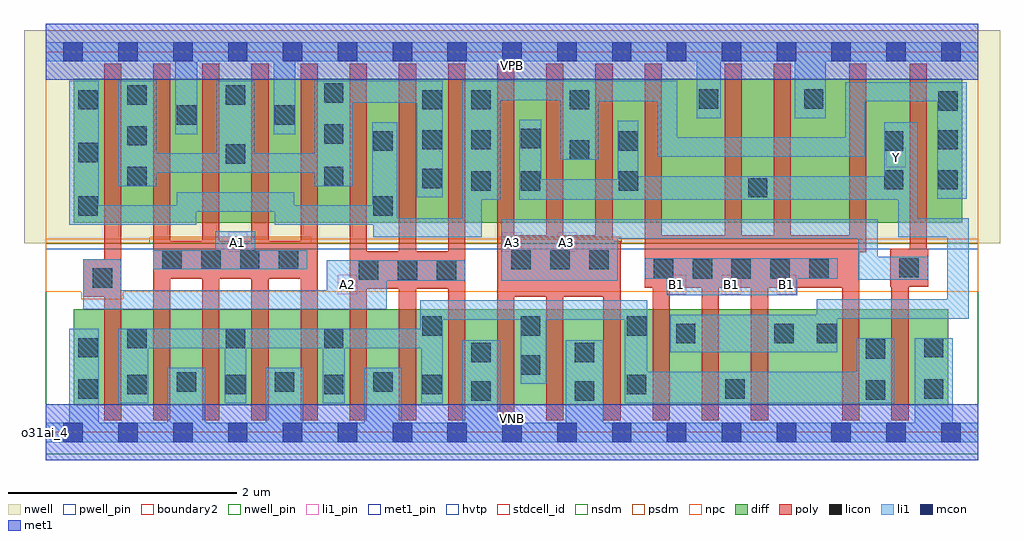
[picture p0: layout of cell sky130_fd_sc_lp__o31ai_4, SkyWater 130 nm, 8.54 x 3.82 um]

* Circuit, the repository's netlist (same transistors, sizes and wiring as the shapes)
* Copyright 2020 The SkyWater PDK Authors
*
* Licensed under the Apache License, Version 2.0 (the "License");
* you may not use this file except in compliance with the License.
* You may obtain a copy of the License at
*
*     https://www.apache.org/licenses/LICENSE-2.0
*
* Unless required by applicable law or agreed to in writing, software
* distributed under the License is distributed on an "AS IS" BASIS,
* WITHOUT WARRANTIES OR CONDITIONS OF ANY KIND, either express or implied.
* See the License for the specific language governing permissions and
* limitations under the License.
*
* SPDX-License-Identifier: Apache-2.0

.SUBCKT sky130_fd_sc_lp__o31ai_4 A1 A2 A3 B1 VGND VNB VPB VPWR Y
*.PININFO A1:I A2:I A3:I B1:I VGND:I VNB:I VPB:I VPWR:I Y:O
MMPA0 VPWR A1 sndA1 VPB sky130_fd_pr__pfet_01v8_hvt m=4 w=1.26U l=0.15U mult=1
+ sa=0.265 sb=0.265 sd=0.28 area=0.063 perim=1.14
MMPA1 sndA1 A2 sndA2 VPB sky130_fd_pr__pfet_01v8_hvt m=4 w=1.26U l=0.15U mult=1
+ sa=0.265 sb=0.265 sd=0.28 area=0.063 perim=1.14
MMPA2 sndA2 A3 Y VPB sky130_fd_pr__pfet_01v8_hvt m=4 w=1.26U l=0.15U mult=1 sa=0.265
+ sb=0.265 sd=0.28 area=0.063 perim=1.14
MMPB0 VPWR B1 Y VPB sky130_fd_pr__pfet_01v8_hvt m=4 w=1.26U l=0.15U mult=1 sa=0.265
+ sb=0.265 sd=0.28 area=0.063 perim=1.14
MMNA0 pndA A1 VGND VNB sky130_fd_pr__nfet_01v8 m=4 w=0.84U l=0.15U mult=1 sa=0.265
+ sb=0.265 sd=0.28 area=0.063 perim=1.14
MMNA1 pndA A2 VGND VNB sky130_fd_pr__nfet_01v8 m=4 w=0.84U l=0.15U mult=1 sa=0.265
+ sb=0.265 sd=0.28 area=0.063 perim=1.14
MMNA2 pndA A3 VGND VNB sky130_fd_pr__nfet_01v8 m=4 w=0.84U l=0.15U mult=1 sa=0.265
+ sb=0.265 sd=0.28 area=0.063 perim=1.14
MMNB0 Y B1 pndA VNB sky130_fd_pr__nfet_01v8 m=4 w=0.84U l=0.15U mult=1 sa=0.265
+ sb=0.265 sd=0.28 area=0.063 perim=1.14
.ENDS sky130_fd_sc_lp__o31ai_4

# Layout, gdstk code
import gdstk
lib = gdstk.Library(unit=1e-6, precision=1e-09)
def R(c, l, rs):  # rectangles x0, y0, x1, y1
    for r in rs: c.add(gdstk.rectangle(r[:2], r[2:], *l))
def A(c, l, x, y, w, h, nx, ny, dx, dy):  # array of equal rectangles
    R(c, l, [(x+i*dx, y+j*dy, x+i*dx+w, y+j*dy+h) for i in range(nx) for j in range(ny)])
def P(c, l, *ps):  # polygons
    for p in ps: c.add(gdstk.Polygon(p, *l))
nwell_pin = (64, 16)
nwell = (64, 20)
diff = (65, 20)
poly = (66, 20)
licon = (66, 44)
li1_pin = (67, 16)
li1 = (67, 20)
mcon = (67, 44)
met1_pin = (68, 16)
met1 = (68, 20)
hvtp = (78, 44)
stdcell_id = (81, 4)
nsdm = (93, 44)
psdm = (94, 20)
npc = (95, 20)
pwell_pin = (122, 16)
boundary2 = (236, 0)

sky130_fd_sc_lp__o31ai_4 = lib.new_cell('sky130_fd_sc_lp__o31ai_4')
R(sky130_fd_sc_lp__o31ai_4, nwell_pin, [(0,3.085,8.16,3.33)])
R(sky130_fd_sc_lp__o31ai_4, nwell, [(-0.19,1.655,8.35,3.52)])
R(sky130_fd_sc_lp__o31ai_4, diff, [(0.245,0.235,7.895,1.075), (0.245,1.835,8.02,3.095)])
P(sky130_fd_sc_lp__o31ai_4, poly, [(0.66,3.225),(0.51,3.225),(0.51,1.515),(0.33,1.515),(0.33,1.185),(0.51,1.185),(0.51,0.105),(0.66,0.105)],
  [(2.38,3.225),(2.23,3.225),(2.23,1.675),(1.95,1.675),(1.95,3.225),(1.8,3.225),(1.8,1.675),(1.52,1.675),(1.52,3.225),(1.37,3.225),(1.37,1.675),(1.09,1.675),(1.09,3.225),(0.94,3.225),(0.94,0.105),(1.09,0.105),(1.09,1.345),(1.37,1.345),(1.37,0.105),(1.52,0.105),(1.52,1.345),(1.8,1.345),(1.8,0.105),(1.95,0.105),(1.95,1.345),(2.23,1.345),(2.23,0.105),(2.38,0.105)],
  [(3.67,3.225),(3.52,3.225),(3.52,1.585),(3.24,1.585),(3.24,3.225),(3.09,3.225),(3.09,1.585),(2.81,1.585),(2.81,3.225),(2.66,3.225),(2.66,0.105),(2.81,0.105),(2.81,1.255),(3.09,1.255),(3.09,0.105),(3.24,0.105),(3.24,1.255),(3.52,1.255),(3.52,0.105),(3.67,0.105)],
  [(5.03,1.675),(4.96,1.675),(4.96,3.225),(4.81,3.225),(4.81,1.725),(4.53,1.725),(4.53,3.225),(4.38,3.225),(4.38,1.725),(4.1,1.725),(4.1,3.225),(3.95,3.225),(3.95,0.105),(4.1,0.105),(4.1,1.185),(4.38,1.185),(4.38,0.105),(4.53,0.105),(4.53,1.185),(4.88,1.185),(4.88,0.105),(5.03,0.105)],
  [(7.18,3.225),(7.03,3.225),(7.03,1.725),(6.52,1.725),(6.52,3.225),(6.37,3.225),(6.37,1.725),(6.09,1.725),(6.09,3.225),(5.94,3.225),(5.94,1.725),(5.39,1.725),(5.39,3.225),(5.24,3.225),(5.24,1.265),(5.31,1.265),(5.31,0.105),(5.46,0.105),(5.46,1.265),(5.74,1.265),(5.74,0.105),(5.89,0.105),(5.89,1.265),(6.17,1.265),(6.17,0.105),(6.32,0.105),(6.32,1.265),(6.97,1.265),(6.97,0.105),(7.12,0.105),(7.12,1.575),(7.18,1.575)],
  [(7.72,1.605),(7.71,1.605),(7.71,3.225),(7.56,3.225),(7.56,1.605),(7.39,1.605),(7.39,1.275),(7.4,1.275),(7.4,0.105),(7.55,0.105),(7.55,1.275),(7.72,1.275)])
A(sky130_fd_sc_lp__o31ai_4, licon, 0.715, 0.335, 0.17, 0.17, 4, 1, 0.86, 0)
A(sky130_fd_sc_lp__o31ai_4, licon, 1.145, 0.355, 0.17, 0.17, 3, 1, 0.86, 0)
A(sky130_fd_sc_lp__o31ai_4, licon, 0.715, 0.735, 0.17, 0.17, 3, 1, 0.86, 0)
A(sky130_fd_sc_lp__o31ai_4, licon, 2.74, 1.335, 0.17, 0.17, 3, 1, 0.34, 0)
A(sky130_fd_sc_lp__o31ai_4, licon, 5.32, 1.345, 0.17, 0.17, 5, 1, 0.34, 0)
A(sky130_fd_sc_lp__o31ai_4, licon, 1.02, 1.425, 0.17, 0.17, 4, 1, 0.34, 0)
A(sky130_fd_sc_lp__o31ai_4, licon, 4.075, 1.425, 0.17, 0.17, 3, 1, 0.34, 0)
A(sky130_fd_sc_lp__o31ai_4, licon, 0.715, 2.155, 0.17, 0.17, 1, 3, 0, 0.355)
R(sky130_fd_sc_lp__o31ai_4, licon, [(3.725,0.275,3.895,0.445), (4.63,0.275,4.8,0.445), (7.175,0.285,7.345,0.455), (0.285,0.295,0.455,0.465), (5.945,0.295,6.115,0.465), (7.685,0.295,7.855,0.465), (5.085,0.335,5.255,0.505), (4.155,0.505,4.325,0.675), (3.725,0.615,3.895,0.785), (4.63,0.615,4.8,0.785), (7.175,0.645,7.345,0.815), (0.285,0.655,0.455,0.825), (7.685,0.655,7.855,0.825), (5.515,0.78,5.685,0.95), (6.375,0.78,6.545,0.95), (6.745,0.78,6.915,0.95), (3.295,0.845,3.465,1.015), (4.155,0.845,4.325,1.015), (5.085,0.845,5.255,1.015), (0.41,1.265,0.58,1.435), (7.47,1.355,7.64,1.525), (0.285,1.895,0.455,2.065), (2.865,1.895,3.035,2.065), (6.145,2.055,6.315,2.225), (3.725,2.115,3.895,2.285), (4.155,2.115,4.325,2.285), (5.015,2.115,5.185,2.285), (7.335,2.125,7.505,2.295), (7.81,2.125,7.98,2.295), (3.295,2.135,3.465,2.305), (2.435,2.155,2.605,2.325), (1.575,2.35,1.745,2.52), (0.285,2.365,0.455,2.535), (4.585,2.385,4.755,2.555), (2.865,2.465,3.035,2.635), (5.015,2.465,5.185,2.635), (7.335,2.465,7.505,2.635), (3.295,2.475,3.465,2.645), (3.725,2.475,3.895,2.645), (7.81,2.475,7.98,2.645), (4.155,2.485,4.325,2.655), (2.435,2.525,2.605,2.695), (1.145,2.69,1.315,2.86), (2.005,2.69,2.175,2.86), (7.81,2.815,7.98,2.985), (0.285,2.825,0.455,2.995), (3.295,2.825,3.465,2.995), (3.725,2.825,3.895,2.995), (4.585,2.825,4.755,2.995), (5.715,2.83,5.885,3), (6.635,2.83,6.805,3), (1.575,2.865,1.745,3.035), (2.435,2.885,2.605,3.055)])
A(sky130_fd_sc_lp__o31ai_4, li1_pin, 5.435, 1.21, 0.17, 0.17, 3, 1, 0.48, 0)
R(sky130_fd_sc_lp__o31ai_4, li1_pin, [(2.555,1.21,2.725,1.38), (1.595,1.58,1.765,1.75), (3.995,1.58,4.165,1.75), (4.475,1.58,4.645,1.75), (7.355,2.32,7.525,2.49)])
P(sky130_fd_sc_lp__o31ai_4, li1, [(5.695,2.75),(5.695,3.245),(2.185,3.245),(2.185,2.61),(1.995,2.61),(1.995,3.245),(1.325,3.245),(1.325,2.61),(1.135,2.61),(1.135,3.245),(0,3.245),(0,3.415),(8.16,3.415),(8.16,3.245),(6.825,3.245),(6.825,2.75),(6.555,2.75),(6.555,3.245),(5.905,3.245),(5.905,2.75)],
  [(0.205,0.085),(0.205,0.905),(0.465,0.905),(0.465,0.085),(1.065,0.085),(1.065,0.565),(1.395,0.565),(1.395,0.085),(1.925,0.085),(1.925,0.565),(2.255,0.565),(2.255,0.085),(2.785,0.085),(2.785,0.565),(3.115,0.565),(3.115,0.085),(3.645,0.085),(3.645,0.805),(3.975,0.805),(3.975,0.085),(4.55,0.085),(4.55,0.805),(4.88,0.805),(4.88,0.085),(7.605,0.085),(7.605,0.825),(7.935,0.825),(7.935,0.085),(8.16,0.085),(8.16,-0.085),(0,-0.085),(0,0.085)],
  [(5.435,1.2),(5.435,1.345),(5.24,1.345),(5.24,1.525),(6.93,1.525),(6.93,1.345),(6.575,1.345),(6.575,1.2)],
  [(0.94,1.425),(0.94,1.595),(1.485,1.595),(1.485,1.76),(1.835,1.76),(1.835,1.595),(2.29,1.595),(2.29,1.425)],
  [(0.33,1.075),(0.33,1.515),(0.66,1.515),(0.66,1.245),(2.46,1.245),(2.46,1.505),(3.67,1.505),(3.67,1.325),(2.985,1.325),(2.985,1.075)],
  [(7.28,1.865),(7.28,1.535),(7.72,1.535),(7.72,1.335),(7.11,1.335),(7.11,1.695),(5.005,1.695),(5.005,1.325),(3.985,1.325),(3.985,1.865)],
  [(7.335,2.24),(7.335,2.715),(7.63,2.715),(7.63,1.875),(8.075,1.875),(8.075,0.995),(6.925,0.995),(6.925,0.7),(5.465,0.7),(5.465,1.03),(6.745,1.03),(6.745,1.165),(7.89,1.165),(7.89,1.705),(7.46,1.705),(7.46,2.035),(4.145,2.035),(4.145,2.735),(4.335,2.735),(4.335,2.215),(5.005,2.215),(5.005,2.725),(5.185,2.725),(5.185,2.24)],
  [(7.8,2.895),(7.165,2.895),(7.165,2.41),(5.355,2.41),(5.355,2.895),(4.835,2.895),(4.835,2.385),(4.505,2.385),(4.505,2.905),(3.975,2.905),(3.975,2.035),(3.815,2.035),(3.815,1.705),(2.865,1.705),(2.865,1.815),(2.005,1.815),(2.005,1.93),(1.315,1.93),(1.315,1.815),(0.205,1.815),(0.205,3.075),(0.465,3.075),(0.465,1.985),(1.145,1.985),(1.145,2.1),(2.175,2.1),(2.175,1.985),(2.855,1.985),(2.855,2.715),(3.075,2.715),(3.075,1.875),(3.645,1.875),(3.645,3.075),(5.525,3.075),(5.525,2.58),(6.995,2.58),(6.995,3.065),(8.06,3.065),(8.06,2.045),(7.8,2.045)],
  [(3.245,2.885),(2.685,2.885),(2.685,2.155),(2.355,2.155),(2.355,2.27),(0.965,2.27),(0.965,2.155),(0.635,2.155),(0.635,3.075),(0.965,3.075),(0.965,2.44),(1.495,2.44),(1.495,3.075),(1.825,3.075),(1.825,2.44),(2.355,2.44),(2.355,3.075),(3.475,3.075),(3.475,2.055),(3.245,2.055)],
  [(5.265,0.53),(7.095,0.53),(7.095,0.825),(7.425,0.825),(7.425,0.255),(5.065,0.255),(5.065,0.985),(4.38,0.985),(4.38,0.425),(4.155,0.425),(4.155,0.985),(3.475,0.985),(3.475,0.255),(3.285,0.255),(3.285,0.735),(2.615,0.735),(2.615,0.255),(2.425,0.255),(2.425,0.735),(1.755,0.735),(1.755,0.255),(1.565,0.255),(1.565,0.735),(0.895,0.735),(0.895,0.255),(0.635,0.255),(0.635,0.905),(3.275,0.905),(3.275,1.155),(5.265,1.155)])
A(sky130_fd_sc_lp__o31ai_4, mcon, 0.155, -0.085, 0.17, 0.17, 17, 2, 0.48, 3.33)
R(sky130_fd_sc_lp__o31ai_4, met1_pin, [(0,0,8.16,0.245), (0,3.085,8.16,3.33)])
R(sky130_fd_sc_lp__o31ai_4, met1, [(0,-0.245,8.16,0.245), (0,3.085,8.16,3.575)])
R(sky130_fd_sc_lp__o31ai_4, hvtp, [(0,1.6,8.16,3.33)])
R(sky130_fd_sc_lp__o31ai_4, stdcell_id, [(0,0,8.16,3.33)])
R(sky130_fd_sc_lp__o31ai_4, nsdm, [(0,-0.19,8.16,1.655)])
P(sky130_fd_sc_lp__o31ai_4, psdm, [(8.16,3.52),(0,3.52),(0,1.655),(0.91,1.655),(0.91,1.705),(2.32,1.705),(2.32,1.655),(3.965,1.655),(3.965,1.705),(5.035,1.705),(5.035,1.655),(8.16,1.655)])
P(sky130_fd_sc_lp__o31ai_4, npc, [(8.16,1.695),(0,1.695),(0,1.23),(0.31,1.23),(0.31,1.165),(0.68,1.165),(0.68,1.23),(8.16,1.23)])
R(sky130_fd_sc_lp__o31ai_4, pwell_pin, [(0,0,8.16,0.245)])
R(sky130_fd_sc_lp__o31ai_4, boundary2, [(0,0,8.16,3.33)])
sky130_fd_sc_lp__o31ai_4.add(gdstk.Label('VNB', (4.08,0.123), layer=64, texttype=59))
sky130_fd_sc_lp__o31ai_4.add(gdstk.Label('VPB', (4.08,3.208), layer=64, texttype=5))
sky130_fd_sc_lp__o31ai_4.add(gdstk.Label('o31ai_4', (0,0), layer=83, texttype=44))
sky130_fd_sc_lp__o31ai_4.add(gdstk.Label('VPWR', (4.08,3.208), layer=68, texttype=5))
sky130_fd_sc_lp__o31ai_4.add(gdstk.Label('VGND', (4.08,0.123), layer=68, texttype=5))
sky130_fd_sc_lp__o31ai_4.add(gdstk.Label('A1', (1.68,1.665), layer=67, texttype=5))
sky130_fd_sc_lp__o31ai_4.add(gdstk.Label('A2', (2.64,1.295), layer=67, texttype=5))
sky130_fd_sc_lp__o31ai_4.add(gdstk.Label('A3', (4.08,1.665), layer=67, texttype=5))
sky130_fd_sc_lp__o31ai_4.add(gdstk.Label('A3', (4.56,1.665), layer=67, texttype=5))
sky130_fd_sc_lp__o31ai_4.add(gdstk.Label('Y', (7.44,2.405), layer=67, texttype=5))
sky130_fd_sc_lp__o31ai_4.add(gdstk.Label('B1', (5.52,1.295), layer=67, texttype=5))
sky130_fd_sc_lp__o31ai_4.add(gdstk.Label('B1', (6,1.295), layer=67, texttype=5))
sky130_fd_sc_lp__o31ai_4.add(gdstk.Label('B1', (6.48,1.295), layer=67, texttype=5))

lib.write_gds('sky130_fd_sc_lp__o31ai_4.gds')
